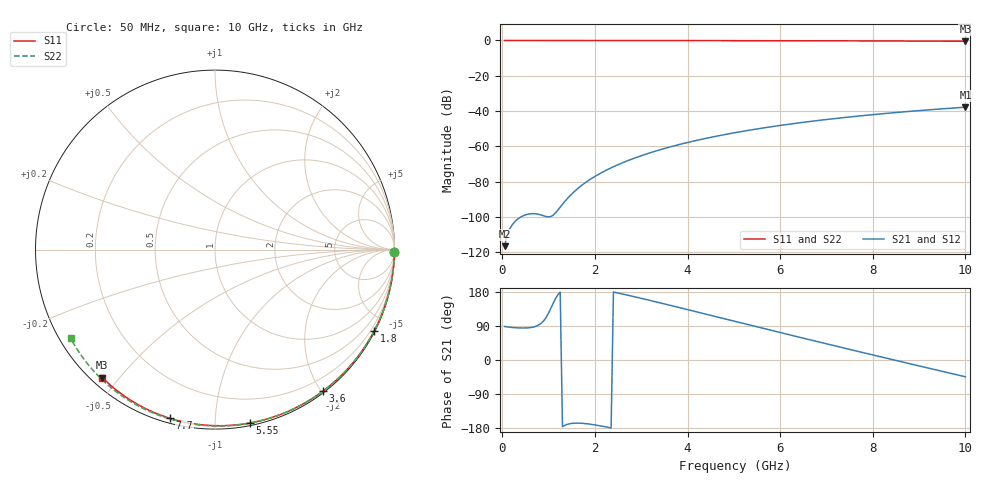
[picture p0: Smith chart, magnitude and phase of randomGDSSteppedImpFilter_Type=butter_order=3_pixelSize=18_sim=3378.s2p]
! freq	dB(S11)	phase(S11)	dB(S12)	phase(S12)
!  dB(S21)	phase(S21)	dB(S22)	phase(S22)
!S-par simulation data
#  GHz  S  DB  R 50
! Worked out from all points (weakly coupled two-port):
!   200 points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, 50 MHz to 10 GHz, reference 50 ohm
!   highest |S21| = -37.83 dB at 10 GHz (marker M1); lowest = -116.6 dB at 50 MHz (marker M2)
!   lowest |S11| = -0.4 dB at 10 GHz (marker M3), VSWR 39.09, Z = 1.54 - j22.6 ohm
!   |S11| at or under -10 dB: nowhere
!   |S22| runs from -0.5 to 0.0 dB; largest |S21 - S12| = 0
!   S11 on the Smith chart (normalised r, x): 50 MHz: open; 1.8 GHz: 0.04, -4.18; 3.6 GHz: 0.02, -2.02; 5.55 GHz: 0.02, -1.22; 7.7 GHz: 0.02, -0.77; 10 GHz: 0.03, -0.45
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0.05  -0.00 -0.8  -116.60 88.5  -116.60 88.5  -0.00 -0.9
0.45  -0.01 -6.8  -99.38 84.4  -99.38 84.4  -0.01 -7.7
0.9  -0.02 -13.6  -99.44 104.3  -99.44 104.3  -0.02 -15.3
1.3  -0.02 -19.5  -92.81 -175.9  -92.81 -175.9  -0.03 -22.0
1.75  -0.03 -26.2  -81.43 -167.4  -81.43 -167.4  -0.04 -29.5
1.8  -0.03 -26.9  -80.47 -167.9  -80.47 -167.9  -0.04 -30.3
1.85  -0.04 -27.6  -79.57 -168.6  -79.57 -168.6  -0.04 -31.2
2.05  -0.04 -30.6  -76.29 -172.3  -76.29 -172.3  -0.04 -34.5
2.2  -0.04 -32.8  -74.15 -175.7  -74.15 -175.7  -0.05 -36.9
2.55  -0.05 -37.8  -69.84 175.4  -69.84 175.4  -0.05 -42.6
2.95  -0.06 -43.5  -65.79 164.2  -65.79 164.2  -0.06 -49.0
3.4  -0.07 -49.9  -62.00 151.0  -62.00 151.0  -0.07 -56.1
3.6  -0.07 -52.6  -60.51 145.1  -60.51 145.1  -0.08 -59.2
4.3  -0.09 -62.2  -56.03 123.9  -56.03 123.9  -0.10 -69.9
5.05  -0.11 -72.2  -52.14 101.2  -52.14 101.2  -0.12 -81.0
5.55  -0.13 -78.6  -49.94 86.1  -49.94 86.1  -0.15 -88.2
6.1  -0.15 -85.6  -47.80 69.5  -47.80 69.5  -0.17 -96.0
6.7  -0.18 -93.0  -45.74 51.6  -45.74 51.6  -0.20 -104.4
7.7  -0.24 -105.0  -42.82 22.1  -42.82 22.1  -0.27 -117.9
8.35  -0.29 -112.6  -41.20 3.2  -41.20 3.2  -0.33 -126.6
9.2  -0.36 -122.3  -39.34 -21.3  -39.34 -21.3  -0.41 -137.9
10  -0.44 -131.3  -37.83 -44.3  -37.83 -44.3  -0.50 -148.5
